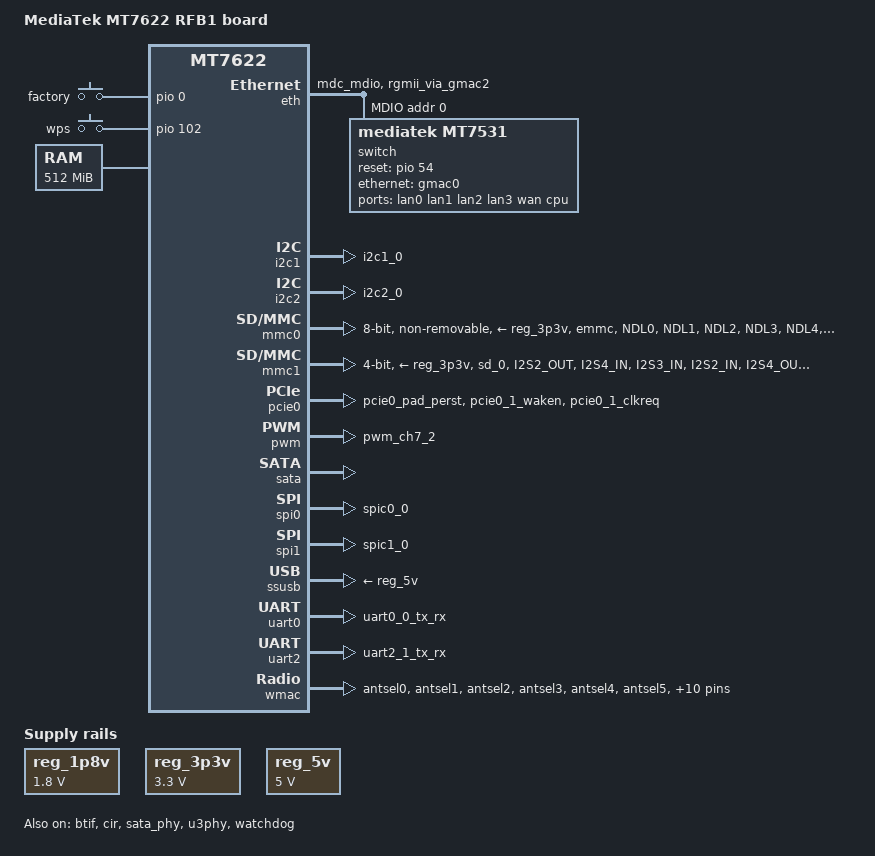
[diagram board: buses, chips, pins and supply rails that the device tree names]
/*
 * Copyright (c) 2017 MediaTek Inc.
 * Author: Ming Huang <ming.huang@mediatek.com>
 *	   Sean Wang <sean.wang@mediatek.com>
 *
 * SPDX-License-Identifier: (GPL-2.0 OR MIT)
 */

/dts-v1/;
#include <dt-bindings/input/input.h>
#include <dt-bindings/gpio/gpio.h>

#include "mt7622.dtsi"
#include "mt6380.dtsi"

/ {
	model = "MediaTek MT7622 RFB1 board";
	compatible = "mediatek,mt7622-rfb1", "mediatek,mt7622";

	aliases {
		serial0 = &uart0;
	};

	chosen {
		stdout-path = "serial0:115200n8";
		bootargs = "earlycon=uart8250,mmio32,0x11002000 swiotlb=512";
	};

	cpus {
		cpu@0 {
			proc-supply = <&mt6380_vcpu_reg>;
			sram-supply = <&mt6380_vm_reg>;
		};

		cpu@1 {
			proc-supply = <&mt6380_vcpu_reg>;
			sram-supply = <&mt6380_vm_reg>;
		};
	};

	gpio-keys {
		compatible = "gpio-keys";

		key-factory {
			label = "factory";
			linux,code = <BTN_0>;
			gpios = <&pio 0 0>;
		};

		key-wps {
			label = "wps";
			linux,code = <KEY_WPS_BUTTON>;
			gpios = <&pio 102 0>;
		};
	};

	memory@40000000 {
		reg = <0 0x40000000 0 0x20000000>;
	};

	reg_1p8v: regulator-1p8v {
		compatible = "regulator-fixed";
		regulator-name = "fixed-1.8V";
		regulator-min-microvolt = <1800000>;
		regulator-max-microvolt = <1800000>;
		regulator-always-on;
	};

	reg_3p3v: regulator-3p3v {
		compatible = "regulator-fixed";
		regulator-name = "fixed-3.3V";
		regulator-min-microvolt = <3300000>;
		regulator-max-microvolt = <3300000>;
		regulator-boot-on;
		regulator-always-on;
	};

	reg_5v: regulator-5v {
		compatible = "regulator-fixed";
		regulator-name = "fixed-5V";
		regulator-min-microvolt = <5000000>;
		regulator-max-microvolt = <5000000>;
		regulator-boot-on;
		regulator-always-on;
	};
};

&bch {
	status = "disabled";
};

&btif {
	status = "okay";
};

&cir {
	pinctrl-names = "default";
	pinctrl-0 = <&irrx_pins>;
	status = "okay";
};

&eth {
	pinctrl-names = "default";
	pinctrl-0 = <&eth_pins>;
	status = "okay";

	gmac0: mac@0 {
		compatible = "mediatek,eth-mac";
		reg = <0>;
		phy-mode = "2500base-x";

		fixed-link {
			speed = <2500>;
			full-duplex;
			pause;
		};
	};

	mdio-bus {
		#address-cells = <1>;
		#size-cells = <0>;

		switch@0 {
			compatible = "mediatek,mt7531";
			reg = <0>;
			reset-gpios = <&pio 54 0>;

			ports {
				#address-cells = <1>;
				#size-cells = <0>;

				port@0 {
					reg = <0>;
					label = "lan0";
				};

				port@1 {
					reg = <1>;
					label = "lan1";
				};

				port@2 {
					reg = <2>;
					label = "lan2";
				};

				port@3 {
					reg = <3>;
					label = "lan3";
				};

				port@4 {
					reg = <4>;
					label = "wan";
				};

				port@6 {
					reg = <6>;
					label = "cpu";
					ethernet = <&gmac0>;
					phy-mode = "2500base-x";

					fixed-link {
						speed = <2500>;
						full-duplex;
						pause;
					};
				};
			};
		};

	};
};

&i2c1 {
	pinctrl-names = "default";
	pinctrl-0 = <&i2c1_pins>;
	status = "okay";
};

&i2c2 {
	pinctrl-names = "default";
	pinctrl-0 = <&i2c2_pins>;
	status = "okay";
};

&mmc0 {
	pinctrl-names = "default", "state_uhs";
	pinctrl-0 = <&emmc_pins_default>;
	pinctrl-1 = <&emmc_pins_uhs>;
	status = "okay";
	bus-width = <8>;
	max-frequency = <50000000>;
	cap-mmc-highspeed;
	mmc-hs200-1_8v;
	vmmc-supply = <&reg_3p3v>;
	vqmmc-supply = <&reg_1p8v>;
	assigned-clocks = <&topckgen CLK_TOP_MSDC30_0_SEL>;
	assigned-clock-parents = <&topckgen CLK_TOP_UNIV48M>;
	non-removable;
};

&mmc1 {
	pinctrl-names = "default", "state_uhs";
	pinctrl-0 = <&sd0_pins_default>;
	pinctrl-1 = <&sd0_pins_uhs>;
	status = "okay";
	bus-width = <4>;
	max-frequency = <50000000>;
	cap-sd-highspeed;
	r_smpl = <1>;
	cd-gpios = <&pio 81 GPIO_ACTIVE_LOW>;
	vmmc-supply = <&reg_3p3v>;
	vqmmc-supply = <&reg_3p3v>;
	assigned-clocks = <&topckgen CLK_TOP_MSDC30_1_SEL>;
	assigned-clock-parents = <&topckgen CLK_TOP_UNIV48M>;
};

&nandc {
	pinctrl-names = "default";
	pinctrl-0 = <&parallel_nand_pins>;
	status = "disabled";
};

&nor_flash {
	pinctrl-names = "default";
	pinctrl-0 = <&spi_nor_pins>;
	status = "disabled";

	flash@0 {
		compatible = "jedec,spi-nor";
		reg = <0>;
	};
};

&pcie0 {
	pinctrl-names = "default";
	pinctrl-0 = <&pcie0_pins>;
	status = "okay";
};

&pio {
	/* eMMC is shared pin with parallel NAND */
	emmc_pins_default: emmc-pins-default {
		mux {
			function = "emmc", "emmc_rst";
			groups = "emmc";
		};

		/* "NDL0","NDL1","NDL2","NDL3","NDL4","NDL5","NDL6","NDL7",
		 * "NRB","NCLE" pins are used as DAT0,DAT1,DAT2,DAT3,DAT4,
		 * DAT5,DAT6,DAT7,CMD,CLK for eMMC respectively
		 */
		conf-cmd-dat {
			pins = "NDL0", "NDL1", "NDL2",
			       "NDL3", "NDL4", "NDL5",
			       "NDL6", "NDL7", "NRB";
			input-enable;
			bias-pull-up;
		};

		conf-clk {
			pins = "NCLE";
			bias-pull-down;
		};
	};

	emmc_pins_uhs: emmc-pins-uhs {
		mux {
			function = "emmc";
			groups = "emmc";
		};

		conf-cmd-dat {
			pins = "NDL0", "NDL1", "NDL2",
			       "NDL3", "NDL4", "NDL5",
			       "NDL6", "NDL7", "NRB";
			input-enable;
			drive-strength = <4>;
			bias-pull-up;
		};

		conf-clk {
			pins = "NCLE";
			drive-strength = <4>;
			bias-pull-down;
		};
	};

	eth_pins: eth-pins {
		mux {
			function = "eth";
			groups = "mdc_mdio", "rgmii_via_gmac2";
		};
	};

	i2c1_pins: i2c1-pins {
		mux {
			function = "i2c";
			groups = "i2c1_0";
		};
	};

	i2c2_pins: i2c2-pins {
		mux {
			function = "i2c";
			groups = "i2c2_0";
		};
	};

	i2s1_pins: i2s1-pins {
		mux {
			function = "i2s";
			groups =  "i2s_out_mclk_bclk_ws",
				  "i2s1_in_data",
				  "i2s1_out_data";
		};

		conf {
			pins = "I2S1_IN", "I2S1_OUT", "I2S_BCLK",
			       "I2S_WS", "I2S_MCLK";
			drive-strength = <12>;
			bias-pull-down;
		};
	};

	irrx_pins: irrx-pins {
		mux {
			function = "ir";
			groups = "ir_1_rx";
		};
	};

	irtx_pins: irtx-pins {
		mux {
			function = "ir";
			groups = "ir_1_tx";
		};
	};

	/* Parallel nand is shared pin with eMMC */
	parallel_nand_pins: parallel-nand-pins {
		mux {
			function = "flash";
			groups = "par_nand";
		};
	};

	pcie0_pins: pcie0-pins {
		mux {
			function = "pcie";
			groups = "pcie0_pad_perst",
				 "pcie0_1_waken",
				 "pcie0_1_clkreq";
		};
	};

	pcie1_pins: pcie1-pins {
		mux {
			function = "pcie";
			groups = "pcie1_pad_perst",
				 "pcie1_0_waken",
				 "pcie1_0_clkreq";
		};
	};

	pmic_bus_pins: pmic-bus-pins {
		mux {
			function = "pmic";
			groups = "pmic_bus";
		};
	};

	pwm7_pins: pwm1-2-pins {
		mux {
			function = "pwm";
			groups = "pwm_ch7_2";
		};
	};

	wled_pins: wled-pins {
		mux {
			function = "led";
			groups = "wled";
		};
	};

	sd0_pins_default: sd0-pins-default {
		mux {
			function = "sd";
			groups = "sd_0";
		};

		/* "I2S2_OUT, "I2S4_IN"", "I2S3_IN", "I2S2_IN",
		 *  "I2S4_OUT", "I2S3_OUT" are used as DAT0, DAT1,
		 *  DAT2, DAT3, CMD, CLK for SD respectively.
		 */
		conf-cmd-data {
			pins = "I2S2_OUT", "I2S4_IN", "I2S3_IN",
			       "I2S2_IN","I2S4_OUT";
			input-enable;
			drive-strength = <8>;
			bias-pull-up;
		};
		conf-clk {
			pins = "I2S3_OUT";
			drive-strength = <12>;
			bias-pull-down;
		};
		conf-cd {
			pins = "TXD3";
			bias-pull-up;
		};
	};

	sd0_pins_uhs: sd0-pins-uhs {
		mux {
			function = "sd";
			groups = "sd_0";
		};

		conf-cmd-data {
			pins = "I2S2_OUT", "I2S4_IN", "I2S3_IN",
			       "I2S2_IN","I2S4_OUT";
			input-enable;
			bias-pull-up;
		};

		conf-clk {
			pins = "I2S3_OUT";
			bias-pull-down;
		};
	};

	/* Serial NAND is shared pin with SPI-NOR */
	serial_nand_pins: serial-nand-pins {
		mux {
			function = "flash";
			groups = "snfi";
		};
	};

	spic0_pins: spic0-pins {
		mux {
			function = "spi";
			groups = "spic0_0";
		};
	};

	spic1_pins: spic1-pins {
		mux {
			function = "spi";
			groups = "spic1_0";
		};
	};

	/* SPI-NOR is shared pin with serial NAND */
	spi_nor_pins: spi-nor-pins {
		mux {
			function = "flash";
			groups = "spi_nor";
		};
	};

	/* serial NAND is shared pin with SPI-NOR */
	serial_nand_pins: serial-nand-pins {
		mux {
			function = "flash";
			groups = "snfi";
		};
	};

	uart0_pins: uart0-pins {
		mux {
			function = "uart";
			groups = "uart0_0_tx_rx" ;
		};
	};

	uart2_pins: uart2-pins {
		mux {
			function = "uart";
			groups = "uart2_1_tx_rx" ;
		};
	};

	watchdog_pins: watchdog-pins {
		mux {
			function = "watchdog";
			groups = "watchdog";
		};
	};

	wmac_pins: wmac-pins {
		mux {
			function = "antsel";
			groups = "antsel0", "antsel1", "antsel2", "antsel3",
				 "antsel4", "antsel5", "antsel6", "antsel7",
				 "antsel8", "antsel9", "antsel12", "antsel13",
				 "antsel14", "antsel15", "antsel16", "antsel17";
		};
	};
};

&pwm {
	pinctrl-names = "default";
	pinctrl-0 = <&pwm7_pins>;
	status = "okay";
};

&pwrap {
	pinctrl-names = "default";
	pinctrl-0 = <&pmic_bus_pins>;

	status = "okay";
};

&sata {
	status = "okay";
};

&sata_phy {
	status = "okay";
};

&spi0 {
	pinctrl-names = "default";
	pinctrl-0 = <&spic0_pins>;
	status = "okay";
};

&spi1 {
	pinctrl-names = "default";
	pinctrl-0 = <&spic1_pins>;
	status = "okay";
};

&ssusb {
	vusb33-supply = <&reg_3p3v>;
	vbus-supply = <&reg_5v>;
	status = "okay";
};

&u3phy {
	status = "okay";
};

&uart0 {
	pinctrl-names = "default";
	pinctrl-0 = <&uart0_pins>;
	status = "okay";
};

&uart2 {
	pinctrl-names = "default";
	pinctrl-0 = <&uart2_pins>;
	status = "okay";
};

&watchdog {
	pinctrl-names = "default";
	pinctrl-0 = <&watchdog_pins>;
	status = "okay";
};

&wmac {
	pinctrl-names = "default";
	pinctrl-0 = <&wmac_pins>;
	status = "okay";
};
